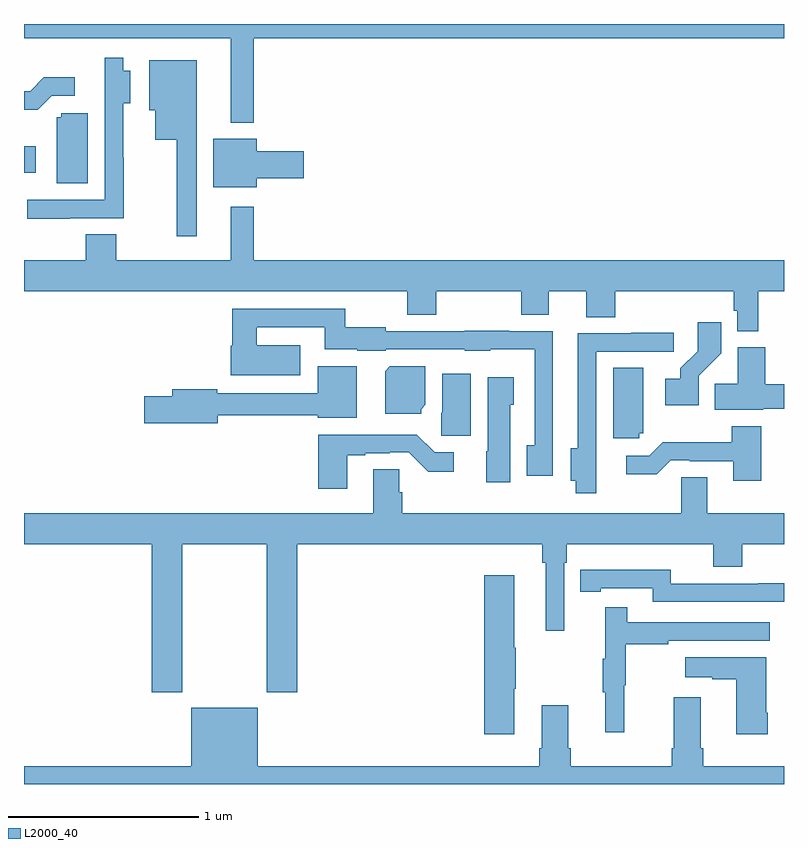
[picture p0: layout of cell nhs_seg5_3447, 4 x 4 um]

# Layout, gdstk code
import gdstk
lib = gdstk.Library(unit=1e-6, precision=1e-09)
def R(c, l, rs):  # rectangles x0, y0, x1, y1
    for r in rs: c.add(gdstk.rectangle(r[:2], r[2:], *l))
def P(c, l, *ps):  # polygons
    for p in ps: c.add(gdstk.Polygon(p, *l))
L2000_40 = (2000, 40)

nhs_seg5_3447 = lib.new_cell('nhs_seg5_3447')
R(nhs_seg5_3447, L2000_40, [(313,892.016,313.063,892.156)])
P(nhs_seg5_3447, L2000_40, [(314.209,892.724),(317,892.724),(317,892.799),(313,892.799),(313,892.724),(314.087,892.724),(314.087,892.28),(314.209,892.28)],
  [(313.241,891.777),(313.526,891.777),(313.526,892.094),(313.522,892.094),(313.522,892.382),(313.558,892.382),(313.558,892.552),(313.522,892.552),(313.522,892.621),(313.424,892.621),(313.424,892.398),(313.425,892.398),(313.425,891.873),(313.017,891.873),(313.017,891.775),(313.241,891.775)],
  [(313.909,892.609),(313.658,892.609),(313.658,892.346),(313.691,892.346),(313.691,892.19),(313.803,892.19),(313.803,891.681),(313.909,891.681)],
  [(313.146,892.422),(313.267,892.422),(313.267,892.519),(313.105,892.519),(313.032,892.446),(313,892.446),(313,892.349),(313.073,892.349)],
  [(313.336,892.329),(313.197,892.329),(313.197,892.308),(313.172,892.308),(313.172,891.96),(313.336,891.96)],
  [(314.224,891.988),(314.473,891.988),(314.473,892.13),(314.224,892.13),(314.224,892.195),(313.997,892.195),(313.997,891.941),(314.224,891.941)],
  [(316.864,891.392),(317,891.392),(317,891.556),(314.209,891.556),(314.209,891.838),(314.087,891.838),(314.087,891.556),(313.485,891.556),(313.485,891.692),(313.325,891.692),(313.325,891.556),(313,891.556),(313,891.392),(315.016,891.392),(315.016,891.268),(315.171,891.268),(315.171,891.392),(315.616,891.392),(315.616,891.268),(315.763,891.268),(315.763,891.392),(315.959,891.392),(315.959,891.256),(316.112,891.256),(316.112,891.392),(316.735,891.392),(316.735,891.291),(316.755,891.291),(316.755,891.182),(316.864,891.182)],
  [(315.784,891.183),(315.553,891.183),(315.553,891.185),(315.321,891.185),(315.321,891.183),(314.904,891.183),(314.904,891.202),(314.692,891.202),(314.692,891.3),(314.095,891.3),(314.095,891.105),(314.087,891.105),(314.087,890.951),(314.455,890.951),(314.455,891.109),(314.224,891.109),(314.224,891.204),(314.583,891.204),(314.583,891.086),(314.754,891.086),(314.754,891.08),(314.904,891.08),(314.904,891.087),(315.321,891.087),(315.321,891.08),(315.453,891.08),(315.453,891.086),(315.687,891.086),(315.687,890.582),(315.647,890.582),(315.647,890.421),(315.784,890.421)],
  [(316.551,890.947),(316.67,891.066),(316.67,891.229),(316.545,891.229),(316.545,891.077),(316.454,890.987),(316.454,890.932),(316.374,890.932),(316.374,890.792),(316.551,890.792)],
  [(316.012,890.55),(316.011,890.55),(316.011,891.075),(316.42,891.075),(316.42,891.174),(316.195,891.174),(316.195,891.171),(315.914,891.171),(315.914,890.567),(315.878,890.567),(315.878,890.396),(315.903,890.396),(315.903,890.328),(316.012,890.328)],
  [(316.89,890.774),(317,890.774),(317,890.904),(316.902,890.904),(316.902,891.097),(316.757,891.097),(316.757,890.906),(316.636,890.906),(316.636,890.768),(316.89,890.768)],
  [(315.09,890.772),(315.112,890.794),(315.112,890.998),(314.926,890.998),(314.9,890.972),(314.9,890.747),(315.09,890.747)],
  [(314.02,890.74),(314.546,890.74),(314.546,890.726),(314.752,890.726),(314.752,890.998),(314.546,890.998),(314.546,890.856),(314.016,890.856),(314.016,890.876),(313.781,890.876),(313.781,890.84),(313.632,890.84),(313.632,890.698),(314.02,890.698)],
  [(316.239,890.646),(316.258,890.646),(316.258,890.99),(316.1,890.99),(316.1,890.619),(316.239,890.619)],
  [(315.352,890.959),(315.2,890.959),(315.2,890.754),(315.196,890.754),(315.196,890.631),(315.352,890.631)],
  [(315.559,890.796),(315.577,890.796),(315.577,890.941),(315.44,890.941),(315.44,890.55),(315.434,890.55),(315.434,890.388),(315.559,890.388)],
  [(316.881,890.683),(316.726,890.683),(316.726,890.599),(316.363,890.599),(316.29,890.526),(316.17,890.526),(316.17,890.429),(316.331,890.429),(316.404,890.502),(316.504,890.502),(316.504,890.499),(316.733,890.499),(316.733,890.394),(316.881,890.394)],
  [(314.701,890.529),(314.797,890.529),(314.797,890.541),(314.924,890.541),(314.924,890.544),(315.024,890.544),(315.127,890.442),(315.262,890.442),(315.262,890.544),(315.162,890.544),(315.068,890.638),(314.549,890.638),(314.549,890.352),(314.701,890.352)],
  [(313.833,890.06),(314.278,890.06),(314.278,889.281),(314.438,889.281),(314.438,890.06),(315.727,890.06),(315.727,889.964),(315.746,889.964),(315.746,889.605),(315.843,889.605),(315.843,889.964),(315.857,889.964),(315.857,890.06),(316.628,890.06),(316.628,889.943),(316.781,889.943),(316.781,890.06),(317,890.06),(317,890.224),(316.597,890.224),(316.597,890.414),(316.458,890.414),(316.458,890.224),(314.99,890.224),(314.99,890.334),(314.976,890.334),(314.976,890.456),(314.837,890.456),(314.837,890.224),(313,890.224),(313,890.06),(313.673,890.06),(313.673,889.281),(313.833,889.281)],
  [(317,889.856),(316.864,889.856),(316.864,889.854),(316.404,889.854),(316.404,889.927),(316.036,889.927),(316.036,889.926),(315.928,889.926),(315.928,889.81),(316.036,889.81),(316.036,889.83),(316.308,889.83),(316.308,889.758),(317,889.758)],
  [(315.58,889.3),(315.588,889.3),(315.588,889.517),(315.58,889.517),(315.58,889.897),(315.422,889.897),(315.422,889.062),(315.58,889.062)],
  [(316.16,889.32),(316.168,889.32),(316.168,889.534),(316.391,889.534),(316.391,889.554),(316.924,889.554),(316.924,889.65),(316.175,889.65),(316.175,889.729),(316.058,889.729),(316.058,889.457),(316.047,889.457),(316.047,889.283),(316.058,889.283),(316.058,889.071),(316.16,889.071)],
  [(316.914,889.174),(316.906,889.174),(316.906,889.465),(316.479,889.465),(316.479,889.361),(316.622,889.361),(316.622,889.351),(316.748,889.351),(316.748,889.062),(316.914,889.062)],
  [(317,888.892),(316.574,888.892),(316.574,888.988),(316.561,888.988),(316.561,889.255),(316.421,889.255),(316.421,888.988),(316.409,888.988),(316.409,888.892),(315.878,888.892),(315.878,888.988),(315.865,888.988),(315.865,889.213),(315.725,889.213),(315.725,888.988),(315.713,888.988),(315.713,888.892),(314.23,888.892),(314.23,889.201),(313.88,889.201),(313.88,888.892),(313,888.892),(313,888.799),(317,888.799)])

lib.write_gds('nhs_seg5_3447.gds')
